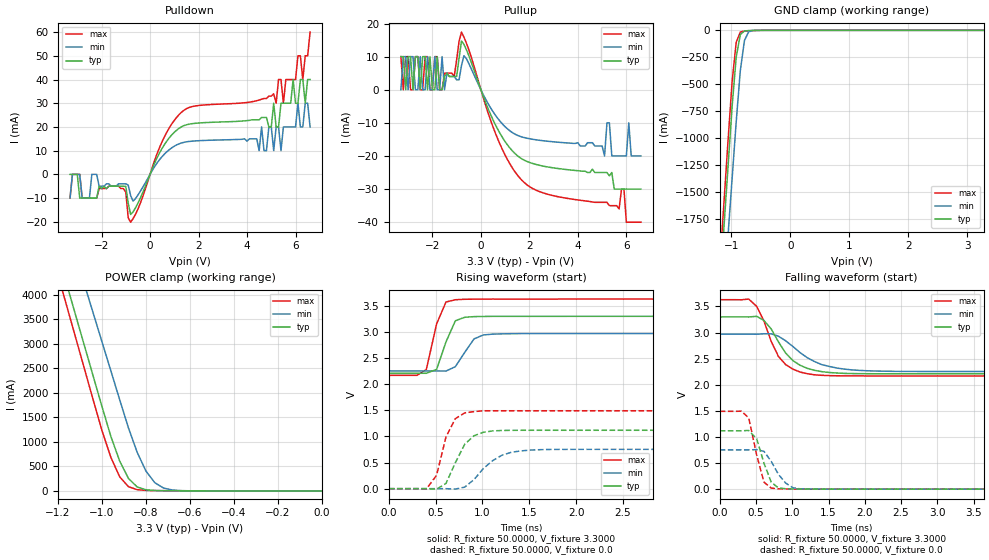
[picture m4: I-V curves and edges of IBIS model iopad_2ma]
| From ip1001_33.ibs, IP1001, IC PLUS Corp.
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|   Model iopad_2ma
[Model]  iopad_2ma
Model_type I/O
Polarity   Non-Inverting
Enable   Active-Low
Vinl =   0.8000V
Vinh =   1.8000V
Vmeas =  1.2500V
C_comp   0.3000pF   0.2400pF   0.3600pF
[Temperature Range]   27.0000   100.0000   0.0
[Voltage Range]   3.3000V   2.9700V   3.6300V
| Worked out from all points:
|   slope of the pulldown table from 0 to 0.495 V, typ, clamps not added: 45.3 ohm
|   slope of the pullup table from 0 to 0.495 V, typ, clamps not added: 55 ohm
|   GND clamp passes 1 mA (typ) near -0.63 V on its own axis
|   POWER clamp passes 1 mA (typ) near -0.57 V on its own axis
|   rising waveform, R_fixture 50.0000, V_fixture 3.3000: 20-80 % time 140ps typ, 161ps min, 131ps max; typ from 2.21 V to 3.3 V
|   rising waveform, R_fixture 50.0000, V_fixture 0.0: 20-80 % time 196ps typ, 278ps min, 152ps max; typ from 0 V to 1.12 V
|   falling waveform, R_fixture 50.0000, V_fixture 3.3000: 20-80 % time 346ps typ, 465ps min, 293ps max; typ from 3.3 V to 2.21 V
|   falling waveform, R_fixture 50.0000, V_fixture 0.0: 20-80 % time 160ps typ, 215ps min, 152ps max; typ from 1.12 V to 0 V
[Pulldown]
|Voltage   I(typ)   I(min)   I(max)
-3.3V     0A         -10mA      -10mA
-1.3V     -5mA       -4mA       -5mA
-800mV    -16.91mA   -9mA       -20.17mA
1.2V      19.44mA    12.89mA    25.23mA
5.1V      30mA       10mA       34mA
5.3V      20mA       20mA       40mA
5.5V      30mA       20mA       30mA
5.9V      40mA       20mA       40mA
6.1V      30mA       30mA       50mA
6.3V      40mA       20mA       40mA
6.4V      30mA       30mA       50mA
6.6V      40mA       20mA       60mA
[Pullup]
|Voltage   I(typ)   I(min)   I(max)
-3.3V     10mA       0A         10mA
-3.2V     10mA       10mA       0A
-3.1V     0A         10mA       10mA
-3V       10mA       0A         10mA
-1.6V     0A         10mA       0A
-1.5V     4mA        0A         5mA
-800mV    14.72mA    7.3mA      17.41mA
1.7V      -20.92mA   -14.28mA   -27.4mA
5.9V      -30mA      -20mA      -30mA
6V        -30mA      -20mA      -40mA
6.1V      -30mA      -10mA      -40mA
6.6V      -30mA      -20mA      -40mA
[GND_clamp]
|Voltage   I(typ)   I(min)   I(max)
-3.3V     -19.41A    -18.96A    -19.6A
-1.2V     -2.411A    -2.98A     -2.198A
-1.13V    -1.844A    -2.447A    -1.618A
-1.06V    -1.278A    -1.914A    -1.038A
-990mV    -713.1mA   -1.382A    -481.3mA
-920mV    -248.8mA   -849.4mA   -111.1mA
-850mV    -39.02mA   -373.5mA   -15.88mA
-780mV    -6.109mA   -94.67mA   -6.703mA
-710mV    -2.353mA   -14.34mA   -4.375mA
-640mV    -1.103mA   -2.066mA   -2.655mA
3.28V     43.51pA    3.97uA     -63.91pA
[POWER_clamp]
|Voltage   I(typ)   I(min)   I(max)
-3.28V    37.2A      36.47A     37.52A
-1.2V     4.828A     5.969A     4.4A
-1.16V    4.205A     5.382A     3.763A
-1.12V    3.582A     4.796A     3.126A
-1.08V    2.96A      4.209A     2.489A
-1.04V    2.337A     3.622A     1.852A
-960mV    1.113A     2.449A     685.8mA
-920mV    611.4mA    1.862A     288.4mA
-840mV    79.46mA    783.6mA    24.69mA
-760mV    7.994mA    166.4mA    7.074mA
-640mV    2.007mA    6.178mA    3.575mA
0V        106.5pA    303.7pA    167.4pA
[Ramp]
| variable   typ   min   max
dV/dt_r  0.6708/0.1957n   0.4517/0.2783n   0.8946/0.1522n
dV/dt_f  0.6540/0.3464n   0.4296/0.4651n   0.8766/0.2934n
R_load = 50.0000
[Rising Waveform]
R_fixture= 50.0000
V_fixture= 3.3000
V_fixture_min= 2.9700
V_fixture_max= 3.6300
|time   V(typ)   V(min)   V(max)
0s        2.21V      2.254V     2.169V
300ps     2.21V      2.254V     2.169V
400ps     2.209V     2.254V     2.28V
510ps     2.284V     2.254V     3.156V
610ps     2.809V     2.252V     3.574V
710ps     3.214V     2.335V     3.617V
910ps     3.294V     2.868V     3.628V
1.01ns    3.297V     2.943V     3.629V
1.11ns    3.299V     2.959V     3.63V
10ns      3.3V       2.97V      3.63V
[Rising Waveform]
R_fixture= 50.0000
V_fixture= 0.0
V_fixture_min= 0.0
V_fixture_max= 0.0
|time   V(typ)   V(min)   V(max)
0s        0V         0V         0V
400ps     1.257mV    -11.68uV   -7.445mV
510ps     -9.467mV   146.4uV    257.8mV
610ps     100.5mV    -27.19uV   990.2mV
710ps     496.6mV    -7.719mV   1.341V
810ps     850.7mV    29.98mV    1.451V
1.01ns    1.08V      387.7mV    1.491V
1.31ns    1.117V     697.5mV    1.491V
1.72ns    1.118V     750.8mV    1.491V
10ns      1.118V     752.8mV    1.491V
[Falling Waveform]
R_fixture= 50.0000
V_fixture= 3.3000
V_fixture_min= 2.9700
V_fixture_max= 3.6300
|time   V(typ)   V(min)   V(max)
0s        3.3V       2.97V      3.63V
400ps     3.299V     2.97V      3.642V
510ps     3.311V     2.968V     3.503V
610ps     3.232V     2.977V     3.22V
810ps     2.822V     2.93V      2.542V
1.01ns    2.463V     2.732V     2.299V
1.31ns    2.276V     2.443V     2.19V
1.62ns    2.225V     2.319V     2.172V
2.22ns    2.21V      2.261V     2.169V
10ns      2.21V      2.254V     2.169V
[Falling Waveform]
R_fixture= 50.0000
V_fixture= 0.0
V_fixture_min= 0.0
V_fixture_max= 0.0
|time   V(typ)   V(min)   V(max)
0s        1.118V     752.8mV    1.491V
300ps     1.118V     752.8mV    1.494V
400ps     1.125V     752.5mV    1.366V
510ps     966.2mV    758.1mV    652.9mV
610ps     499.4mV    724.6mV    134.8mV
710ps     135.1mV    534.6mV    20.84mV
810ps     23.06mV    283mV      6.925mV
910ps     8.143mV    116.1mV    3.405mV
1.11ns    2.66mV     6.462mV    860.4uV
10ns      823.6nV    1.96uV     -615.5nV
